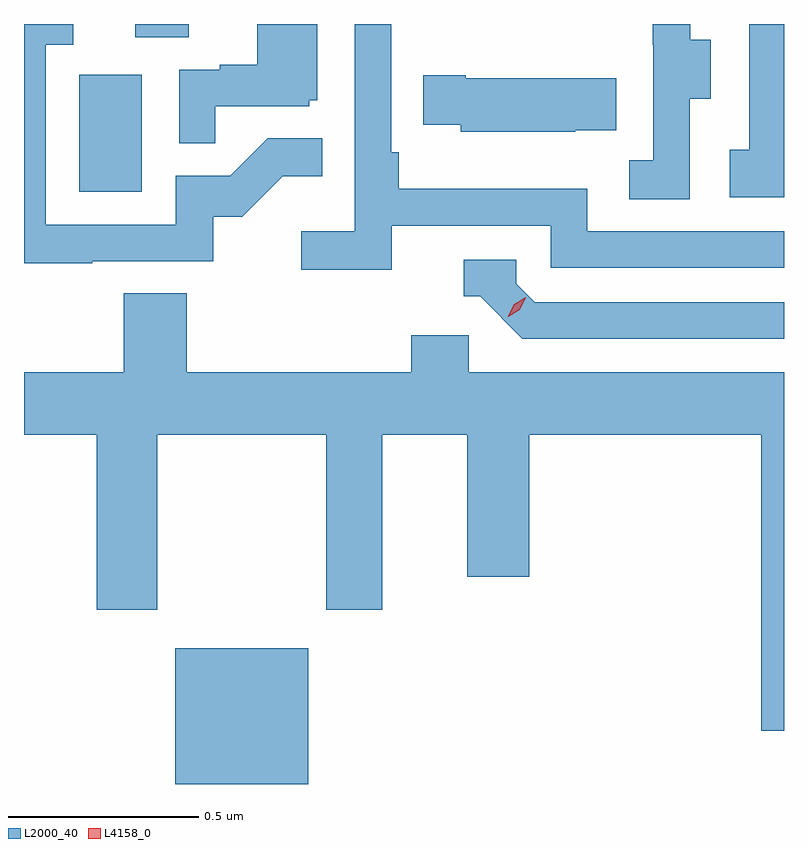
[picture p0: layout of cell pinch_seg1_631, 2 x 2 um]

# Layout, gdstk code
import gdstk
lib = gdstk.Library(unit=1e-6, precision=1e-09)
def R(c, l, rs):  # rectangles x0, y0, x1, y1
    for r in rs: c.add(gdstk.rectangle(r[:2], r[2:], *l))
def P(c, l, *ps):  # polygons
    for p in ps: c.add(gdstk.Polygon(p, *l))
L2000_40 = (2000, 40)
L4158_0 = (4158, 0)

pinch_seg1_631 = lib.new_cell('pinch_seg1_631')
R(pinch_seg1_631, L2000_40, [(1111.292,502.861,1111.642,503.218), (1111.04,504.42,1111.204,504.727), (1111.187,504.826,1111.327,504.861)])
P(pinch_seg1_631, L2000_40, [(1111.397,504.645),(1111.644,504.645),(1111.644,504.66),(1111.666,504.66),(1111.666,504.861),(1111.508,504.861),(1111.508,504.754),(1111.409,504.754),(1111.409,504.741),(1111.302,504.741),(1111.302,504.547),(1111.397,504.547)],
  [(1111.073,504.237),(1111.392,504.237),(1111.392,504.354),(1111.468,504.354),(1111.575,504.461),(1111.679,504.461),(1111.679,504.56),(1111.535,504.56),(1111.437,504.462),(1111.293,504.462),(1111.293,504.333),(1110.951,504.333),(1110.951,504.807),(1111.024,504.807),(1111.024,504.861),(1110.894,504.861),(1110.894,504.232),(1111.073,504.232)],
  [(1112.894,504.861),(1112.802,504.861),(1112.802,504.53),(1112.751,504.53),(1112.751,504.405),(1112.894,504.405)],
  [(1112.646,504.664),(1112.701,504.664),(1112.701,504.819),(1112.647,504.819),(1112.647,504.861),(1112.549,504.861),(1112.549,504.807),(1112.55,504.807),(1112.55,504.503),(1112.487,504.503),(1112.487,504.4),(1112.646,504.4)],
  [(1111.862,504.33),(1112.28,504.33),(1112.28,504.219),(1112.894,504.219),(1112.894,504.315),(1112.376,504.315),(1112.376,504.427),(1111.88,504.427),(1111.88,504.523),(1111.86,504.523),(1111.86,504.861),(1111.764,504.861),(1111.764,504.316),(1111.623,504.316),(1111.623,504.214),(1111.862,504.214)],
  [(1112.345,504.581),(1112.453,504.581),(1112.453,504.718),(1112.056,504.718),(1112.056,504.726),(1111.945,504.726),(1111.945,504.596),(1112.043,504.596),(1112.043,504.578),(1112.345,504.578)],
  [(1112.894,504.129),(1112.238,504.129),(1112.19,504.177),(1112.19,504.24),(1112.051,504.24),(1112.051,504.144),(1112.094,504.144),(1112.205,504.033),(1112.894,504.033)],
  [(1112.894,503.944),(1112.064,503.944),(1112.064,504.042),(1111.913,504.042),(1111.913,503.944),(1111.322,503.944),(1111.322,504.152),(1111.157,504.152),(1111.157,503.944),(1110.894,503.944),(1110.894,503.78),(1111.085,503.78),(1111.085,503.319),(1111.245,503.319),(1111.245,503.78),(1111.69,503.78),(1111.69,503.319),(1111.837,503.319),(1111.837,503.78),(1112.06,503.78),(1112.06,503.406),(1112.224,503.406),(1112.224,503.78),(1112.834,503.78),(1112.834,503.001),(1112.894,503.001)])
P(pinch_seg1_631, L4158_0, [(1112.167,504.091),(1112.167,504.091),(1112.184,504.123),(1112.214,504.142),(1112.215,504.142),(1112.215,504.142),(1112.198,504.109),(1112.168,504.091)])

lib.write_gds('pinch_seg1_631.gds')
